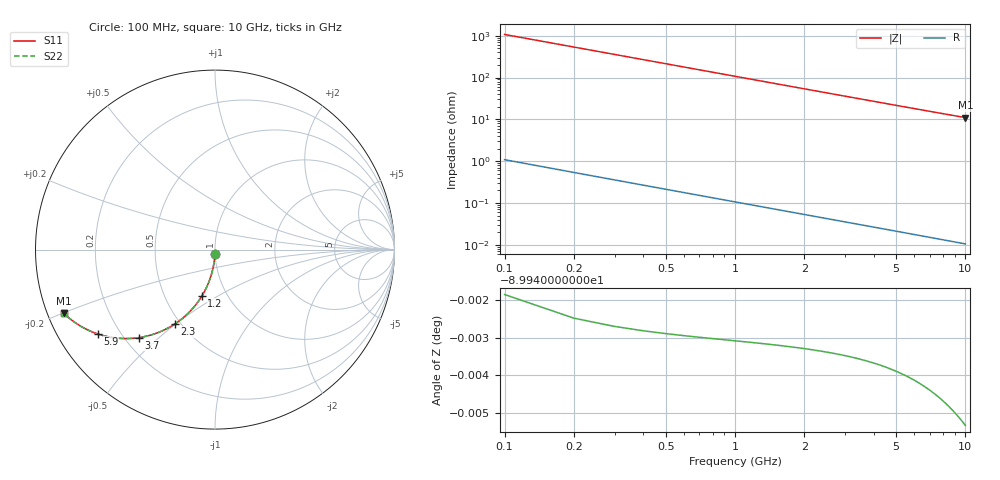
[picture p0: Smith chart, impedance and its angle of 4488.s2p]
# Hz S RI R 50.00
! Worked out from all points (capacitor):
!   100 points, 100 MHz to 10 GHz, reference 50 ohm
!   read as one part in shunt: C = 1.49 pF near 100 MHz
!   lowest |Z| = 11 ohm at 10 GHz (marker M1)
!   S11 on the Smith chart (normalised r, x): 100 MHz: 1.00, -0.05; 1.2 GHz: 0.76, -0.42; 2.3 GHz: 0.47, -0.50; 3.7 GHz: 0.25, -0.43; 5.9 GHz: 0.12, -0.32; 10 GHz: 0.05, -0.20
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1e8  -0.000555 -0.0233  0.9994 -0.0235  0.9994 -0.0235  -0.000555 -0.0233
2e8  -0.00221 -0.0465  0.9978 -0.0468  0.9978 -0.0468  -0.00221 -0.0465
3e8  -0.00495 -0.0695  0.995 -0.0701  0.995 -0.0701  -0.00495 -0.0695
4e8  -0.00875 -0.0923  0.9912 -0.0931  0.9912 -0.0931  -0.00875 -0.0923
5e8  -0.0136 -0.1149  0.9864 -0.1157  0.9864 -0.1157  -0.0136 -0.1149
6e8  -0.0194 -0.137  0.9806 -0.1381  0.9806 -0.1381  -0.0194 -0.137
7e8  -0.0262 -0.1587  0.9738 -0.1599  0.9738 -0.1599  -0.0262 -0.1587
9e8  -0.0425 -0.2005  0.9574 -0.2021  0.9574 -0.2021  -0.0425 -0.2005
1.2e9  -0.0731 -0.2587  0.9269 -0.2608  0.9269 -0.2608  -0.0731 -0.2587
1.5e9  -0.1095 -0.3105  0.8905 -0.3131  0.8905 -0.3131  -0.1095 -0.3105
1.8e9  -0.1503 -0.3552  0.8497 -0.3584  0.8497 -0.3584  -0.1503 -0.3552
2.3e9  -0.2237 -0.4141  0.7763 -0.4183  0.7763 -0.4183  -0.2237 -0.4141
2.8e9  -0.2988 -0.4547  0.7012 -0.4598  0.7012 -0.4598  -0.2988 -0.4547
3.4e9  -0.3854 -0.4831  0.6146 -0.4893  0.6146 -0.4893  -0.3854 -0.4831
3.7e9  -0.4259 -0.4906  0.5741 -0.4973  0.5741 -0.4973  -0.4259 -0.4906
4.4e9  -0.5114 -0.4954  0.4885 -0.5034  0.4885 -0.5034  -0.5114 -0.4954
5.1e9  -0.584 -0.4877  0.4159 -0.497  0.4159 -0.497  -0.584 -0.4877
5.9e9  -0.6523 -0.4703  0.3476 -0.4812  0.3476 -0.4812  -0.6523 -0.4703
6.7e9  -0.7073 -0.4483  0.2926 -0.4607  0.2926 -0.4607  -0.7073 -0.4483
7.5e9  -0.7515 -0.4246  0.2483 -0.4385  0.2483 -0.4385  -0.7515 -0.4246
8.4e9  -0.7913 -0.398  0.2085 -0.4137  0.2085 -0.4137  -0.7913 -0.398
1e10  -0.8431 -0.3537  0.1567 -0.3725  0.1567 -0.3725  -0.8431 -0.3537
